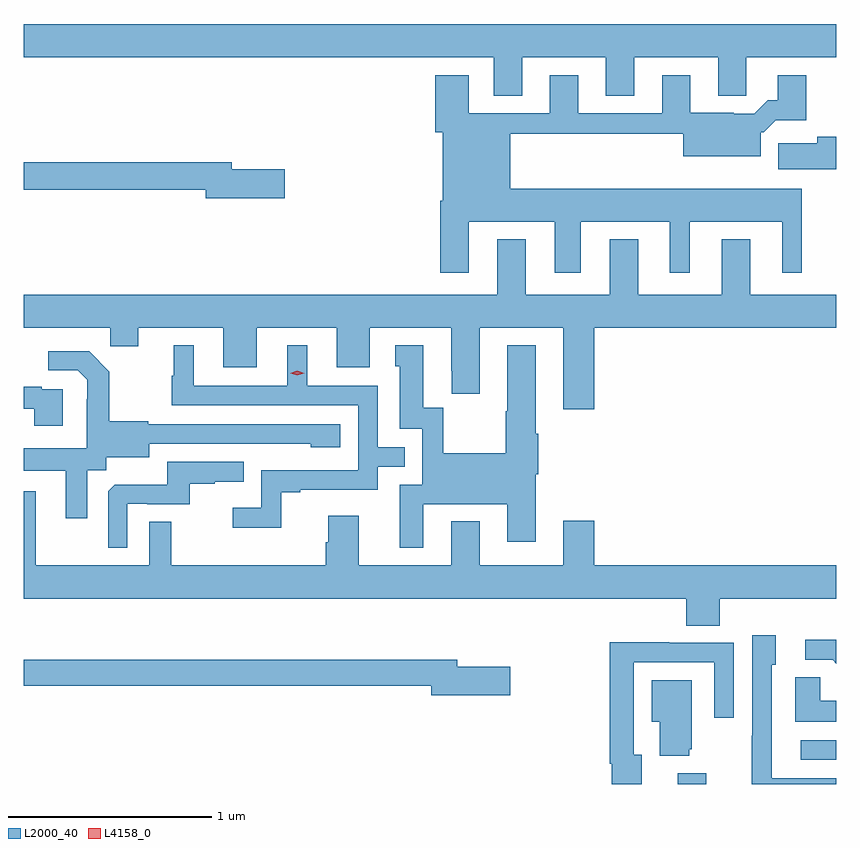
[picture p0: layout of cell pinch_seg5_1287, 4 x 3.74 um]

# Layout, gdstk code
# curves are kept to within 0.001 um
import gdstk
lib = gdstk.Library(unit=1e-6, precision=1e-09)
def R(c, l, rs):  # rectangles x0, y0, x1, y1
    for r in rs: c.add(gdstk.rectangle(r[:2], r[2:], *l))
def P(c, l, *ps):  # polygons
    for p in ps: c.add(gdstk.Polygon(p, *l))
L2000_40 = (2000, 40)
L4158_0 = (4158, 0)

pinch_seg5_1287 = lib.new_cell('pinch_seg5_1287')
R(pinch_seg5_1287, L2000_40, [(624.989,866.503,625.129,866.557), (625.593,866.622,625.769,866.718)])
P(pinch_seg5_1287, L2000_40, [(624.223,870.08),(624.635,870.08),(624.635,869.89),(624.775,869.89),(624.775,870.08),(625.187,870.08),(625.187,869.891),(625.326,869.891),(625.326,870.08),(625.769,870.08),(625.769,870.244),(621.769,870.244),(621.769,870.08),(624.083,870.08),(624.083,869.89),(624.223,869.89)],
  [(623.959,869.27),(624.383,869.27),(624.383,869.019),(624.511,869.019),(624.511,869.27),(624.95,869.27),(624.95,869.019),(625.048,869.019),(625.048,869.27),(625.502,869.27),(625.502,869.019),(625.6,869.019),(625.6,869.434),(624.163,869.434),(624.163,869.704),(625.016,869.704),(625.016,869.594),(625.396,869.594),(625.396,869.712),(625.413,869.712),(625.472,869.771),(625.621,869.771),(625.621,869.992),(625.481,869.992),(625.481,869.869),(625.432,869.869),(625.365,869.802),(625.265,869.802),(625.265,869.806),(625.051,869.806),(625.051,869.992),(624.911,869.992),(624.911,869.805),(624.499,869.805),(624.499,869.992),(624.359,869.992),(624.359,869.805),(623.959,869.805),(623.959,869.992),(623.795,869.992),(623.795,869.712),(623.831,869.712),(623.831,869.374),(623.819,869.374),(623.819,869.019),(623.959,869.019)],
  [(625.769,869.689),(625.676,869.689),(625.676,869.657),(625.482,869.657),(625.482,869.528),(625.769,869.528)],
  [(623.053,869.528),(622.792,869.528),(622.792,869.564),(621.769,869.564),(621.769,869.428),(622.664,869.428),(622.664,869.386),(623.053,869.386)],
  [(624.578,868.748),(625.769,868.748),(625.769,868.912),(625.345,868.912),(625.345,869.185),(625.205,869.185),(625.205,868.912),(624.793,868.912),(624.793,869.185),(624.653,869.185),(624.653,868.912),(624.241,868.912),(624.241,869.185),(624.101,869.185),(624.101,868.912),(621.769,868.912),(621.769,868.748),(622.195,868.748),(622.195,868.658),(622.333,868.658),(622.333,868.748),(622.751,868.748),(622.751,868.554),(622.915,868.554),(622.915,868.748),(623.309,868.748),(623.309,868.554),(623.473,868.554),(623.473,868.748),(623.873,868.748),(623.873,868.537),(623.876,868.537),(623.876,868.425),(624.013,868.425),(624.013,868.748),(624.425,868.748),(624.425,868.347),(624.578,868.347)],
  [(623.037,867.939),(623.131,867.939),(623.131,867.951),(623.511,867.951),(623.511,868.065),(623.645,868.065),(623.645,868.161),(623.511,868.161),(623.511,868.464),(623.164,868.464),(623.164,868.663),(623.066,868.663),(623.066,868.464),(622.606,868.464),(622.606,868.663),(622.508,868.663),(622.508,868.512),(622.497,868.512),(622.497,868.368),(623.415,868.368),(623.415,868.047),(622.938,868.047),(622.938,867.862),(622.797,867.862),(622.797,867.764),(623.037,867.764)],
  [(623.737,867.881),(624.149,867.881),(624.149,867.696),(624.289,867.696),(624.289,868.028),(624.302,868.028),(624.302,868.228),(624.289,868.228),(624.289,868.663),(624.149,868.663),(624.149,868.337),(624.142,868.337),(624.142,868.132),(623.835,868.132),(623.835,868.355),(623.737,868.355),(623.737,868.663),(623.597,868.663),(623.597,868.56),(623.621,868.56),(623.621,868.251),(623.73,868.251),(623.73,867.975),(623.621,867.975),(623.621,867.666),(623.737,867.666)],
  [(622.081,868.048),(622.176,868.048),(622.176,868.112),(622.387,868.112),(622.387,868.179),(623.181,868.178),(623.181,868.16),(623.326,868.16),(623.326,868.275),(622.383,868.275),(622.383,868.288),(622.191,868.288),(622.191,868.533),(622.091,868.633),(621.891,868.633),(621.891,868.539),(622.035,868.539),(622.082,868.492),(622.082,868.397),(622.08,868.397),(622.08,868.156),(621.769,868.156),(621.769,868.046),(621.977,868.046),(621.977,867.81),(622.081,867.81)],
  [(621.961,868.446),(621.857,868.446),(621.857,868.459),(621.769,868.459),(621.769,868.35),(621.821,868.35),(621.821,868.266),(621.961,868.266)],
  [(622.278,867.882),(622.378,867.882),(622.378,867.879),(622.586,867.879),(622.586,867.981),(622.709,867.981),(622.709,867.992),(622.853,867.992),(622.853,868.089),(622.476,868.089),(622.476,867.977),(622.217,867.977),(622.185,867.945),(622.185,867.665),(622.278,867.665)],
  [(625.196,867.416),(625.769,867.416),(625.769,867.58),(624.578,867.58),(624.578,867.799),(624.425,867.799),(624.425,867.58),(624.013,867.58),(624.013,867.796),(623.873,867.796),(623.873,867.58),(623.419,867.58),(623.419,867.823),(623.267,867.823),(623.267,867.693),(623.255,867.693),(623.255,867.58),(622.495,867.58),(622.495,867.794),(622.386,867.794),(622.386,867.58),(621.829,867.58),(621.829,867.943),(621.769,867.943),(621.769,867.416),(625.031,867.416),(625.031,867.283),(625.196,867.283)],
  [(625.769,866.532),(625.452,866.532),(625.452,867.09),(625.471,867.09),(625.471,867.235),(625.356,867.235),(625.356,866.741),(625.354,866.741),(625.354,866.503),(625.769,866.503)],
  [(625.769,867.212),(625.617,867.212),(625.617,867.114),(625.751,867.114),(625.769,867.096)],
  [(624.811,866.646),(624.771,866.646),(624.771,867.102),(625.167,867.102),(625.167,866.829),(625.263,866.829),(625.263,867.198),(624.947,867.198),(624.947,867.2),(624.655,867.2),(624.655,866.602),(624.663,866.602),(624.663,866.503),(624.811,866.503)],
  [(624.163,867.081),(623.902,867.081),(623.902,867.115),(621.769,867.115),(621.769,866.986),(623.774,866.986),(623.774,866.939),(624.163,866.939)],
  [(625.769,866.914),(625.689,866.914),(625.689,867.029),(625.568,867.029),(625.568,866.81),(625.769,866.81)],
  [(625.046,866.673),(625.057,866.673),(625.057,867.013),(624.86,867.013),(624.86,866.81),(624.899,866.81),(624.899,866.642),(625.046,866.642)])
P(pinch_seg5_1287, L4158_0, [(623.115,868.516),(623.08,868.525),(623.079,868.526),(623.08,868.526),(623.115,868.536),(623.15,868.526),(623.151,868.526),(623.15,868.525)])

lib.write_gds('pinch_seg5_1287.gds')
